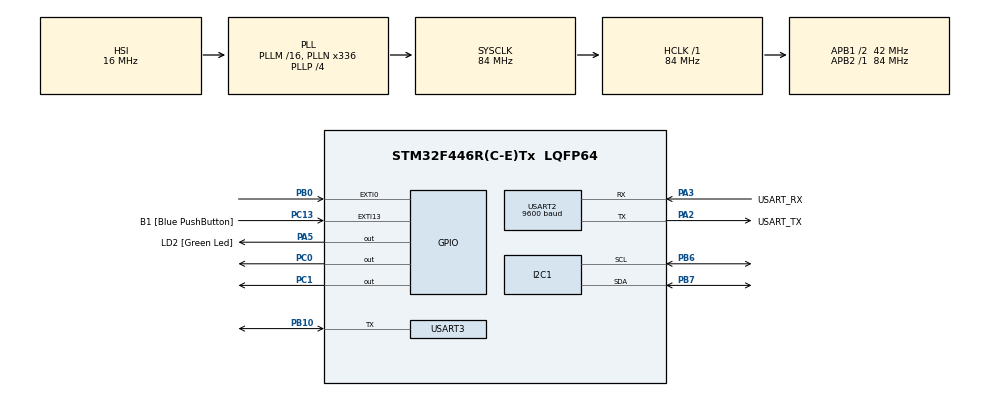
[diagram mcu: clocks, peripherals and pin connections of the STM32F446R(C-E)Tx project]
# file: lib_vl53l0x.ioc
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I2C1.I2C_Mode=I2C_Fast
Mcu.Family=STM32F4
Mcu.Name=STM32F446R(C-E)Tx
Mcu.Package=LQFP64
NVIC.EXTI0_IRQn=true\:0\:0\:false\:false\:true\:true\:true
NVIC.PriorityGroup=NVIC_PRIORITYGROUP_0
PA13.GPIO_Label=TMS
PA13.Mode=Serial_Wire
PA13.Signal=SYS_JTMS-SWDIO
PA14.GPIO_Label=TCK
PA14.Mode=Serial_Wire
PA14.Signal=SYS_JTCK-SWCLK
PA2.GPIO_Label=USART_TX
PA2.Mode=Asynchronous
PA2.Signal=USART2_TX
PA3.GPIO_Label=USART_RX
PA3.Mode=Asynchronous
PA3.Signal=USART2_RX
PA5.GPIO_Label=LD2 [Green Led]
PA5.Signal=GPIO_Output
PB0.Signal=GPXTI0
PB10.Mode=Half_duplex(single_wire_mode)
PB10.Signal=USART3_TX
PB3.GPIO_Label=SWO
PB3.Signal=SYS_JTDO-SWO
PB6.Mode=I2C
PB6.Signal=I2C1_SCL
PB7.Mode=I2C
PB7.Signal=I2C1_SDA
PC0.Signal=GPIO_Output
PC1.Signal=GPIO_Output
PC13.GPIO_Label=B1 [Blue PushButton]
PC13.GPIO_ModeDefaultEXTI=GPIO_MODE_IT_FALLING
PC13.Signal=GPXTI13
PC14-OSC32_IN.Mode=LSE-External-Oscillator
PC14-OSC32_IN.Signal=RCC_OSC32_IN
PC15-OSC32_OUT.Mode=LSE-External-Oscillator
PC15-OSC32_OUT.Signal=RCC_OSC32_OUT
PH0-OSC_IN.Mode=HSE-External-Oscillator
PH0-OSC_IN.Signal=RCC_OSC_IN
PH1-OSC_OUT.Mode=HSE-External-Oscillator
PH1-OSC_OUT.Signal=RCC_OSC_OUT
ProjectManager.HeapSize=0x200
ProjectManager.StackSize=0x400
ProjectManager.TargetToolchain=STM32CubeIDE
RCC.48MHZClocksFreq_Value=84000000
RCC.AHBFreq_Value=84000000
RCC.APB1CLKDivider=RCC_HCLK_DIV2
RCC.APB1Freq_Value=42000000
RCC.APB1TimFreq_Value=84000000
RCC.APB2Freq_Value=84000000
RCC.APB2TimFreq_Value=84000000
RCC.CortexFreq_Value=84000000
RCC.FLatency-AdvancedSettings=FLASH_LATENCY_2
RCC.HCLKFreq_Value=84000000
RCC.HSE_VALUE=8000000
RCC.HSI_VALUE=16000000
RCC.PLLN=336
RCC.PLLP=RCC_PLLP_DIV4
RCC.SYSCLKFreq_VALUE=84000000
RCC.SYSCLKSource=RCC_SYSCLKSOURCE_PLLCLK
RCC.USBFreq_Value=168000000
RCC.VCOOutputFreq_Value=336000000
USART2.BaudRate=9600
USART2.VirtualMode=VM_ASYNC
USART3.BaudRate=250000
USART3.VirtualMode=VM_ASYNC
board=NUCLEO-F446RE

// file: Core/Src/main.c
/* USER CODE BEGIN Header */
/**
  ******************************************************************************
  * @file           : main.c
  * @brief          : Main program body
  ******************************************************************************
  * @attention
  *
  * <h2><center>&copy; Copyright (c) 2021 STMicroelectronics.
  * All rights reserved.</center></h2>
  *
  * This software component is licensed by ST under BSD 3-Clause license,
  * the "License"; You may not use this file except in compliance with the
  * License. You may obtain a copy of the License at:
  *                        opensource.org/licenses/BSD-3-Clause
  *
  ******************************************************************************
  */
/* USER CODE END Header */
#include "main.h"
#include "i2c.h"
#include "usart.h"
#include "gpio.h"

/* USER CODE BEGIN Includes */
#include "global.h"
/* USER CODE END Includes */

/* USER CODE BEGIN PV */
VL53L0X_Dev_t dev;
/* USER CODE END PV */

void SystemClock_Config(void);

int main(void)
{

  /* MCU Configuration--------------------------------------------------------*/

  /* Reset of all peripherals, Initializes the Flash interface and the Systick. */
  HAL_Init();

  /* Configure the system clock */
  SystemClock_Config();

  /* Initialize all configured peripherals */
  MX_GPIO_Init();
  MX_USART2_UART_Init();
  MX_I2C1_Init();
  MX_USART3_UART_Init();
  /* USER CODE BEGIN 2 */
  RetargetInit(&huart2);
  printf("lib_vl53l0x\r\n");
  /* USER CODE END 2 */

  /* Infinite loop */
  /* USER CODE BEGIN WHILE */
  HAL_GPIO_WritePin(GPIOC, GPIO_PIN_0, GPIO_PIN_RESET);

  // PC_0 => XSHUT of sensor 1
  // PC_1 => XSHUT of sensor 2

 // VL53L0X_Dev_t dev;

  dev.I2cHandle = &hi2c1;
  dev.I2cDevAddr = 0x52;
  dev.comms_speed_khz = 400;
  dev.comms_type = 1;

  HAL_GPIO_WritePin(GPIOC, GPIO_PIN_0, GPIO_PIN_SET);
  HAL_Delay(200);
  vl53l0x_Initialization_Flow(&dev);
  vl53l0x_SetDeviceAddress(&dev, 0x55);
  HAL_Delay(200);
  /*
  HAL_GPIO_WritePin(GPIOC, GPIO_PIN_1, GPIO_PIN_SET);
  HAL_Delay(200);
  vl53l0x_Initialization_Flow(&dev[1]);
  vl53l0x_SetDeviceAddress(&dev[1], 0x58);
  HAL_Delay(200);
  */

  AX12 ax12;

  AX12_Init(&ax12, &huart3, 1, BR_250K);
  AX12_TorqueE_D(&ax12, TRUE);
  AX12_setMaxTorque(&ax12,50);

  AX12_setRangeAngle(&ax12,0,300);
  AX12_setMovingSpeed(&ax12, 114);

  AX12_LED_O_N(&ax12, TRUE);

  while (1)
  {
	  //printf

	  AX12_setPosition(&ax12, 150);
	  printf("AX12 : %f\r\n",((float)AX12_getPosition(&ax12)*300)/1024);
	  HAL_Delay(2000);
	  AX12_setPosition(&ax12, 300);
	  printf("AX12 : %f\r\n",((float)AX12_getPosition(&ax12)*300)/1024);
	  HAL_Delay(2000);
	  AX12_setPosition(&ax12, 0);
	  printf("AX12 : %f\r\n",((float)AX12_getPosition(&ax12)*300)/1024);
	  HAL_Delay(4000);
	  /*
	  for(int i=0; i<nbOfSensors; i++){
		  printf("Sensor %d : %d\r\n",i, vl53l0x_PerformRangingMeasurement(&dev[i]));
	  }
	  HAL_Delay(1000);
	  */
    /* USER CODE END WHILE */

  }
}

void SystemClock_Config(void)
{
  RCC_OscInitTypeDef RCC_OscInitStruct = {0};
  RCC_ClkInitTypeDef RCC_ClkInitStruct = {0};

  /** Configure the main internal regulator output voltage
  */
  __HAL_RCC_PWR_CLK_ENABLE();
  __HAL_PWR_VOLTAGESCALING_CONFIG(PWR_REGULATOR_VOLTAGE_SCALE3);
  /** Initializes the RCC Oscillators according to the specified parameters
  * in the RCC_OscInitTypeDef structure.
  */
  RCC_OscInitStruct.OscillatorType = RCC_OSCILLATORTYPE_HSI;
  RCC_OscInitStruct.HSIState = RCC_HSI_ON;
  RCC_OscInitStruct.HSICalibrationValue = RCC_HSICALIBRATION_DEFAULT;
  RCC_OscInitStruct.PLL.PLLState = RCC_PLL_ON;
  RCC_OscInitStruct.PLL.PLLSource = RCC_PLLSOURCE_HSI;
  RCC_OscInitStruct.PLL.PLLM = 16;
  RCC_OscInitStruct.PLL.PLLN = 336;
  RCC_OscInitStruct.PLL.PLLP = RCC_PLLP_DIV4;
  RCC_OscInitStruct.PLL.PLLQ = 2;
  RCC_OscInitStruct.PLL.PLLR = 2;
  if (HAL_RCC_OscConfig(&RCC_OscInitStruct) != HAL_OK)
  {
    Error_Handler();
  }
  /** Initializes the CPU, AHB and APB buses clocks
  */
  RCC_ClkInitStruct.ClockType = RCC_CLOCKTYPE_HCLK|RCC_CLOCKTYPE_SYSCLK
                              |RCC_CLOCKTYPE_PCLK1|RCC_CLOCKTYPE_PCLK2;
  RCC_ClkInitStruct.SYSCLKSource = RCC_SYSCLKSOURCE_PLLCLK;
  RCC_ClkInitStruct.AHBCLKDivider = RCC_SYSCLK_DIV1;
  RCC_ClkInitStruct.APB1CLKDivider = RCC_HCLK_DIV2;
  RCC_ClkInitStruct.APB2CLKDivider = RCC_HCLK_DIV1;

  if (HAL_RCC_ClockConfig(&RCC_ClkInitStruct, FLASH_LATENCY_2) != HAL_OK)
  {
    Error_Handler();
  }
}

void Error_Handler(void)
{
  __disable_irq();
  while (1)
  {
  }
}

/************************ (C) COPYRIGHT STMicroelectronics *****END OF FILE****/
